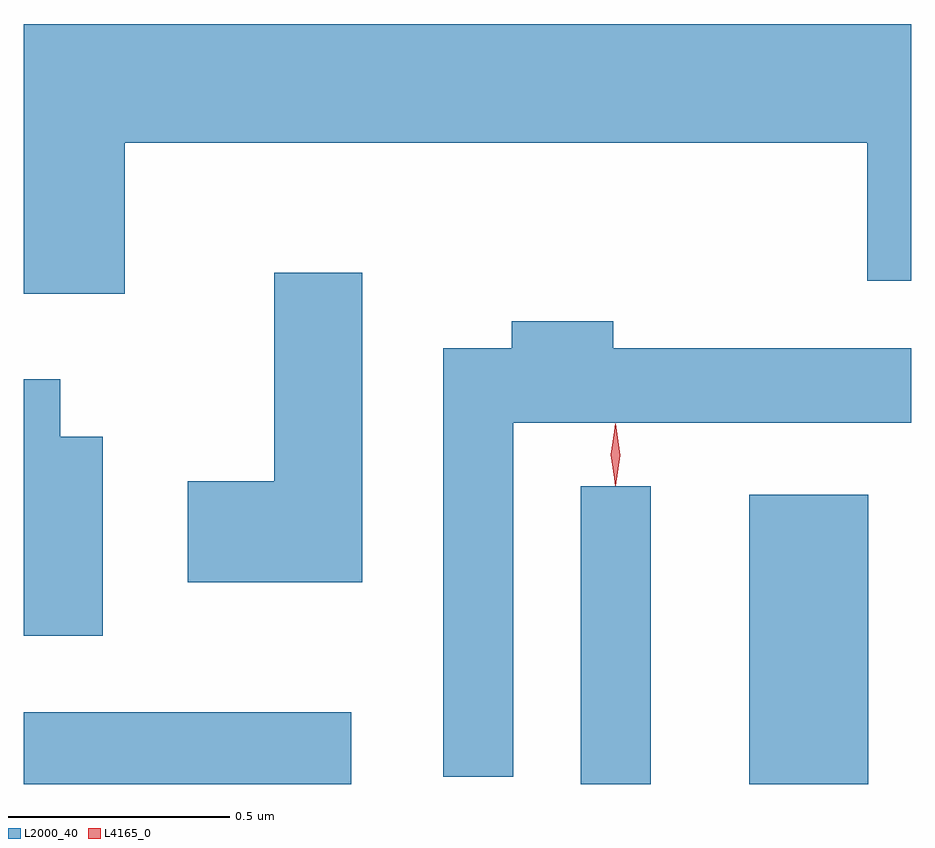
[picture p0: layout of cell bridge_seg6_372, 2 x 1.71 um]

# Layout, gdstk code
import gdstk
lib = gdstk.Library(unit=1e-6, precision=1e-09)
def R(c, l, rs):  # rectangles x0, y0, x1, y1
    for r in rs: c.add(gdstk.rectangle(r[:2], r[2:], *l))
def P(c, l, *ps):  # polygons
    for p in ps: c.add(gdstk.Polygon(p, *l))
L2000_40 = (2000, 40)
L4165_0 = (4165, 0)

bridge_seg6_372 = lib.new_cell('bridge_seg6_372')
R(bridge_seg6_372, L2000_40, [(1297.351,1533.052,1298.089,1533.214), (1298.606,1533.052,1298.764,1533.723), (1298.986,1533.052,1299.254,1533.704)])
P(bridge_seg6_372, L2000_40, [(1297.579,1534.496),(1299.251,1534.496),(1299.251,1534.186),(1299.351,1534.186),(1299.351,1534.764),(1297.351,1534.764),(1297.351,1534.156),(1297.579,1534.156)],
  [(1298.114,1534.204),(1297.916,1534.204),(1297.916,1533.734),(1297.721,1533.734),(1297.721,1533.506),(1298.114,1533.506)],
  [(1298.454,1533.866),(1299.351,1533.866),(1299.351,1534.034),(1298.679,1534.034),(1298.679,1534.094),(1298.451,1534.094),(1298.451,1534.034),(1298.296,1534.034),(1298.296,1533.068),(1298.454,1533.068)],
  [(1297.529,1533.834),(1297.434,1533.834),(1297.434,1533.964),(1297.351,1533.964),(1297.351,1533.386),(1297.529,1533.386)])
P(bridge_seg6_372, L4165_0, [(1298.684,1533.724),(1298.675,1533.793),(1298.684,1533.863),(1298.685,1533.863),(1298.685,1533.863),(1298.695,1533.793),(1298.685,1533.724),(1298.685,1533.724)],
  [(1298.684,1533.727),(1298.684,1533.727),(1298.674,1533.794),(1298.684,1533.86),(1298.684,1533.861),(1298.685,1533.86),(1298.694,1533.794),(1298.685,1533.727)])

lib.write_gds('bridge_seg6_372.gds')
